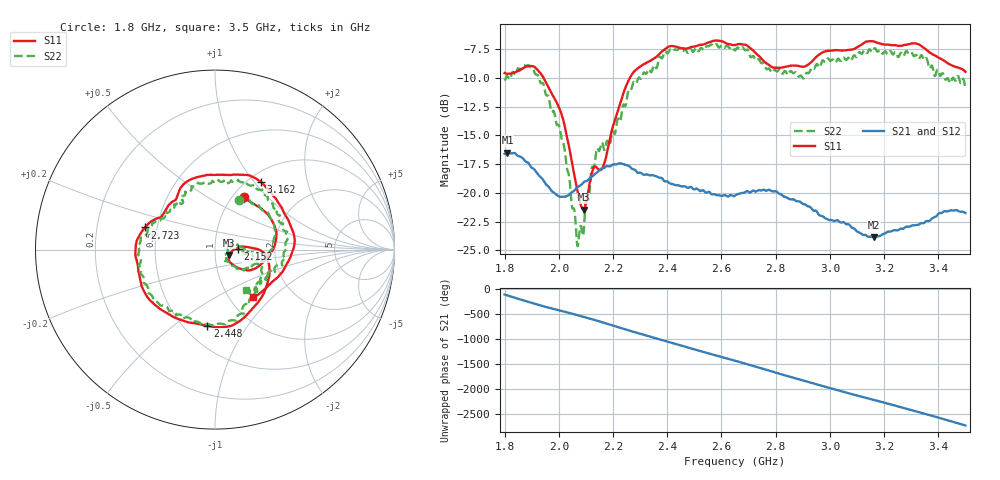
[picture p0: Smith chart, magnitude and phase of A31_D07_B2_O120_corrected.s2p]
! Created with skrf 1.9.0 (http://scikit-rf.org).
# Hz S RI R 50.0
!freq ReS11 ImS11 ReS21 ImS21 ReS12 ImS12 ReS22 ImS22
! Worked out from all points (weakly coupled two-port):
!   1601 points, 1.8 GHz to 3.5 GHz, reference 50 ohm
!   highest |S21| = -16.49 dB at 1.811 GHz (marker M1); lowest = -23.9 dB at 3.162 GHz (marker M2)
!   lowest |S11| = -21.5 dB at 2.091 GHz (marker M3), VSWR 1.18, Z = 58.5 - j3.56 ohm
!   |S11| at or under -10 dB: 1.944 GHz to 2.262 GHz (318 MHz wide, 15.1 % of centre)
!   |S22| runs from -24.6 to -7.1 dB; largest |S21 - S12| = 0.0027
!   S11 on the Smith chart (normalised r, x): 1.8 GHz: 1.12, +0.74; 2.152 GHz: 1.29, +0.01; 2.448 GHz: 0.65, -0.67; 2.723 GHz: 0.43, +0.13; 3.162 GHz: 1.14, +1.09; 3.5 GHz: 1.28, -0.76
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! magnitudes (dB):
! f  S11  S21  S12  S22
! 1.8 GHz  -9.6  -16.6  -16.6  -10.2
! 1.811 GHz  -9.6  -16.5  -16.5  -9.9
! 1.883 GHz  -9.0  -17.3  -17.3  -8.9
! 1.941 GHz  -9.9  -18.8  -18.8  -10.4
! 2.013 GHz  -13.3  -20.3  -20.3  -15.5
! 2.067 GHz  -19.6  -19.6  -19.6  -24.3
! 2.084 GHz  -21.2  -19.3  -19.2  -23.1
! 2.091 GHz  -21.5  -19.1  -19.1  -23.5
! 2.126 GHz  -17.9  -18.5  -18.5  -17.8
! 2.152 GHz  -18.0  -18.0  -18.0  -16.2
! 2.189 GHz  -15.2  -17.7  -17.7  -15.8
! 2.26 GHz  -10.1  -17.7  -17.7  -11.0
! 2.367 GHz  -8.0  -18.6  -18.6  -8.5
! 2.448 GHz  -7.4  -19.4  -19.4  -7.4
! 2.65 GHz  -7.1  -20.2  -20.2  -7.6
! 2.723 GHz  -7.8  -19.9  -19.8  -8.3
! 2.795 GHz  -9.1  -19.9  -19.9  -9.3
! 2.934 GHz  -8.6  -21.4  -21.4  -9.1
! 3.162 GHz  -6.8  -23.9  -23.8  -7.5
! 3.217 GHz  -7.1  -23.4  -23.4  -7.8
! 3.323 GHz  -7.0  -22.8  -22.8  -8.2
! 3.5 GHz  -9.5  -21.8  -21.7  -10.9
